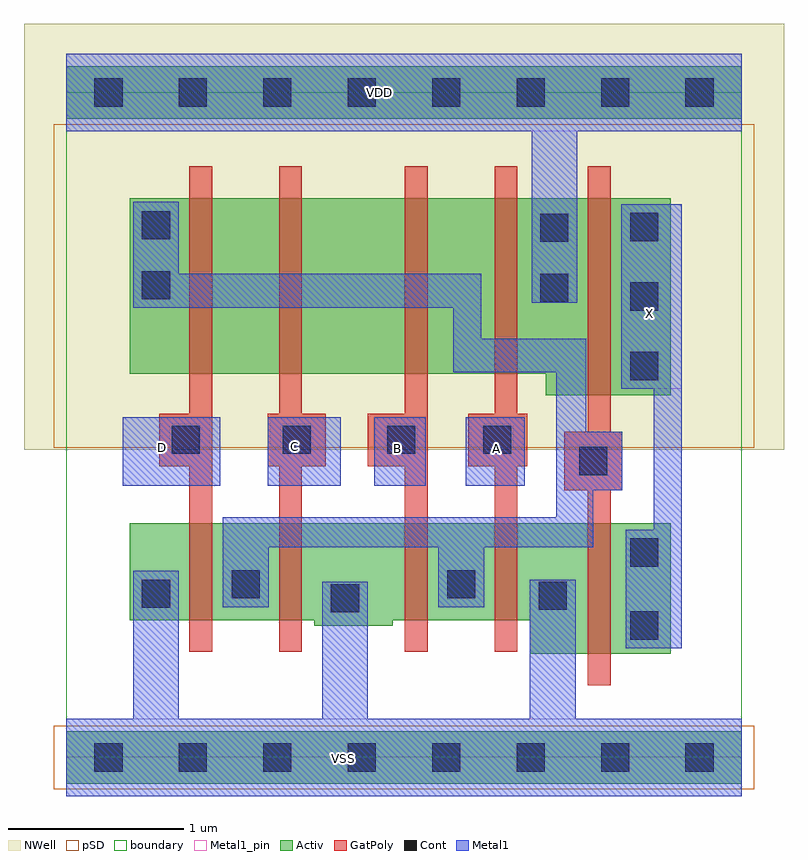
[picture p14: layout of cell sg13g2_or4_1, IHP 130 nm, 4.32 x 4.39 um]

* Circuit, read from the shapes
.subckt sg13g2_or4_1 A B C D VDD VSS X
XM1 n1 D VSS VSS sg13_lv_nmos w=0.55u l=0.13u
XM2 VSS C n1 VSS sg13_lv_nmos w=0.55u l=0.13u
XM3 n1 B VSS VSS sg13_lv_nmos w=0.55u l=0.13u
XM4 VSS A n1 VSS sg13_lv_nmos w=0.55u l=0.13u
XM5 X n1 VSS VSS sg13_lv_nmos w=0.74u l=0.13u
XM6 n2 D n1 VDD sg13_lv_pmos w=1u l=0.13u
XM7 n3 C n2 VDD sg13_lv_pmos w=1u l=0.13u
XM8 n4 B n3 VDD sg13_lv_pmos w=1u l=0.13u
XM9 VDD A n4 VDD sg13_lv_pmos w=1u l=0.13u
XM10 X n1 VDD VDD sg13_lv_pmos w=1.12u l=0.13u
.ends

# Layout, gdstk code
import gdstk
lib = gdstk.Library(unit=1e-6, precision=1e-09)
def R(c, l, rs):  # rectangles x0, y0, x1, y1
    for r in rs: c.add(gdstk.rectangle(r[:2], r[2:], *l))
def A(c, l, x, y, w, h, nx, ny, dx, dy):  # array of equal rectangles
    R(c, l, [(x+i*dx, y+j*dy, x+i*dx+w, y+j*dy+h) for i in range(nx) for j in range(ny)])
def P(c, l, *ps):  # polygons
    for p in ps: c.add(gdstk.Polygon(p, *l))
Activ = (1, 0)
GatPoly = (5, 0)
Cont = (6, 0)
Metal1 = (8, 0)
Metal1_pin = (8, 2)
pSD = (14, 0)
NWell = (31, 0)
boundary = (189, 4)

sg13g2_or4_1 = lib.new_cell('sg13g2_or4_1')
R(sg13g2_or4_1, Activ, [(0,-0.15,3.84,0.15), (0,3.63,3.84,3.93)])
P(sg13g2_or4_1, Activ, [(2.725,2.06),(2.725,2.18),(0.36,2.18),(0.36,3.18),(3.435,3.18),(3.435,2.06)],
  [(2.635,0.59),(2.635,0.78),(1.855,0.78),(1.855,0.75),(1.41,0.75),(1.41,0.78),(0.36,0.78),(0.36,1.33),(3.435,1.33),(3.435,0.59)])
P(sg13g2_or4_1, GatPoly, [(1.21,0.6),(1.21,1.655),(1.145,1.655),(1.145,1.955),(1.21,1.955),(1.21,3.36),(1.34,3.36),(1.34,1.955),(1.475,1.955),(1.475,1.655),(1.34,1.655),(1.34,0.6)],
  [(2.965,0.41),(2.965,1.52),(2.83,1.52),(2.83,1.85),(2.965,1.85),(2.965,3.36),(3.095,3.36),(3.095,1.85),(3.16,1.85),(3.16,1.52),(3.095,1.52),(3.095,0.41)],
  [(1.925,0.6),(1.925,1.655),(1.715,1.655),(1.715,1.955),(1.925,1.955),(1.925,3.36),(2.055,3.36),(2.055,0.6)],
  [(2.435,0.6),(2.435,1.655),(2.285,1.655),(2.285,1.955),(2.435,1.955),(2.435,3.36),(2.565,3.36),(2.565,1.955),(2.62,1.955),(2.62,1.655),(2.565,1.655),(2.565,0.6)],
  [(0.7,0.6),(0.7,1.655),(0.53,1.655),(0.53,1.955),(0.7,1.955),(0.7,3.36),(0.83,3.36),(0.83,0.6)])
A(sg13g2_or4_1, Cont, 3.205, 2.145, 0.16, 0.16, 1, 3, 0, 0.395)
R(sg13g2_or4_1, Cont, [(0.16,-0.08,0.32,0.08), (0.16,-0.08,0.32,0.08), (0.64,-0.08,0.8,0.08), (0.64,-0.08,0.8,0.08), (1.12,-0.08,1.28,0.08), (1.12,-0.08,1.28,0.08), (1.6,-0.08,1.76,0.08), (1.6,-0.08,1.76,0.08), (2.08,-0.08,2.24,0.08), (2.08,-0.08,2.24,0.08), (2.56,-0.08,2.72,0.08), (2.56,-0.08,2.72,0.08), (3.04,-0.08,3.2,0.08), (3.04,-0.08,3.2,0.08), (3.52,-0.08,3.68,0.08), (3.52,-0.08,3.68,0.08), (3.205,0.67,3.365,0.83), (1.505,0.825,1.665,0.985), (2.685,0.84,2.845,1), (0.43,0.85,0.59,1.01), (0.94,0.905,1.1,1.065), (2.165,0.905,2.325,1.065), (3.205,1.085,3.365,1.245), (2.915,1.605,3.075,1.765), (0.6,1.725,0.76,1.885), (1.23,1.725,1.39,1.885), (1.825,1.725,1.985,1.885), (2.37,1.725,2.53,1.885), (2.695,2.59,2.855,2.75), (0.43,2.605,0.59,2.765), (2.695,2.93,2.855,3.09), (0.43,2.945,0.59,3.105), (0.16,3.7,0.32,3.86), (0.16,3.7,0.32,3.86), (0.64,3.7,0.8,3.86), (0.64,3.7,0.8,3.86), (1.12,3.7,1.28,3.86), (1.12,3.7,1.28,3.86), (1.6,3.7,1.76,3.86), (1.6,3.7,1.76,3.86), (2.08,3.7,2.24,3.86), (2.08,3.7,2.24,3.86), (2.56,3.7,2.72,3.86), (2.56,3.7,2.72,3.86), (3.04,3.7,3.2,3.86), (3.04,3.7,3.2,3.86), (3.52,3.7,3.68,3.86), (3.52,3.7,3.68,3.86)])
R(sg13g2_or4_1, Metal1, [(0.32,1.545,0.875,1.935), (1.145,1.545,1.56,1.935), (1.75,1.545,2.045,1.935), (2.27,1.545,2.605,1.935)])
P(sg13g2_or4_1, Metal1, [(0.89,0.855),(0.89,1.365),(2.785,1.365),(2.785,2.19),(2.2,2.19),(2.2,2.555),(0.38,2.555),(0.38,3.16),(0.64,3.16),(0.64,2.75),(2.36,2.75),(2.36,2.38),(2.955,2.38),(2.955,1.85),(3.16,1.85),(3.16,1.52),(2.995,1.52),(2.995,1.195),(2.375,1.195),(2.375,0.855),(2.115,0.855),(2.115,1.195),(1.15,1.195),(1.15,0.855)],
  [(3.18,0.62),(3.18,1.295),(3.34,1.295),(3.34,2.095),(3.155,2.095),(3.155,3.145),(3.5,3.145),(3.5,0.62)],
  [(0,-0.22),(0,0.22),(0.38,0.22),(0.38,1.06),(0.64,1.06),(0.64,0.22),(1.455,0.22),(1.455,1),(1.715,1),(1.715,0.22),(2.635,0.22),(2.635,1.01),(2.895,1.01),(2.895,0.22),(3.84,0.22),(3.84,-0.22)],
  [(2.645,2.585),(2.645,3.56),(0,3.56),(0,4),(3.84,4),(3.84,3.56),(2.905,3.56),(2.905,2.585)])
R(sg13g2_or4_1, Metal1_pin, [(0,-0.22,3.84,0.22), (0.32,1.545,0.875,1.935), (1.145,1.545,1.56,1.935), (1.75,1.545,2.045,1.935), (2.27,1.545,2.605,1.935), (3.155,2.095,3.5,3.145), (0,3.56,3.84,4)])
R(sg13g2_or4_1, pSD, [(-0.07,-0.18,3.91,0.18), (0,-0.18,3.84,0.18), (-0.07,1.76,3.91,3.6)])
R(sg13g2_or4_1, NWell, [(-0.24,1.75,4.08,4.17)])
R(sg13g2_or4_1, boundary, [(0,0,3.84,3.78)])
sg13g2_or4_1.add(gdstk.Label('X', (3.315,2.525), layer=8, texttype=25))
sg13g2_or4_1.add(gdstk.Label('C', (1.295,1.765), layer=8, texttype=25))
sg13g2_or4_1.add(gdstk.Label('D', (0.55,1.76), layer=8, texttype=25))
sg13g2_or4_1.add(gdstk.Label('VDD', (1.78,3.78), layer=8, texttype=25))
sg13g2_or4_1.add(gdstk.Label('VSS', (1.575,-0.005), layer=8, texttype=25))
sg13g2_or4_1.add(gdstk.Label('A', (2.445,1.755), layer=8, texttype=25))
sg13g2_or4_1.add(gdstk.Label('B', (1.885,1.755), layer=8, texttype=25))

lib.write_gds('sg13g2_or4_1.gds')
